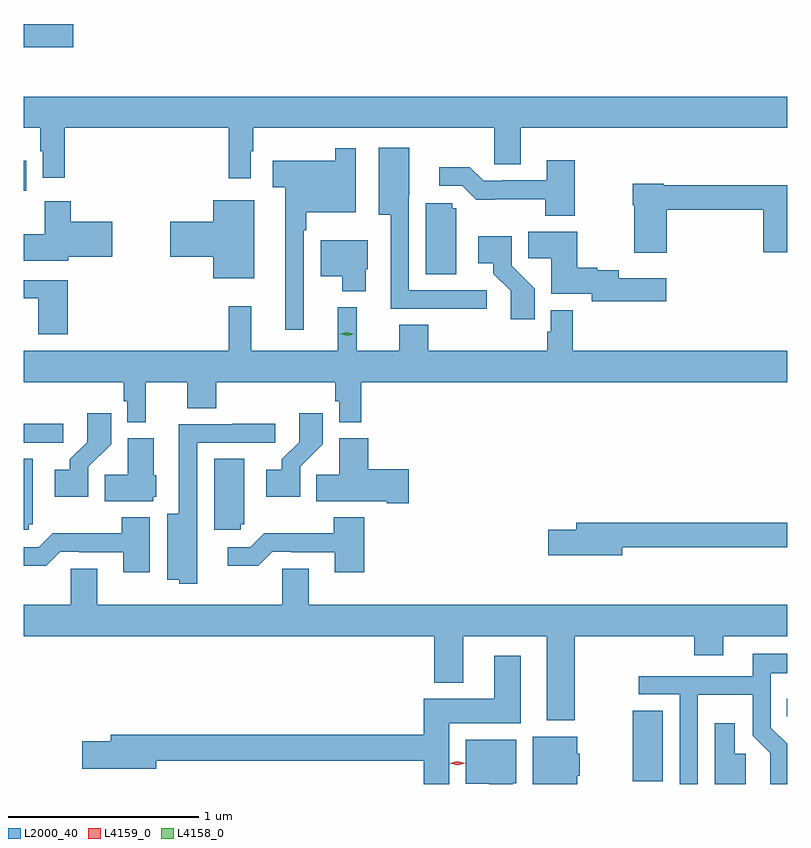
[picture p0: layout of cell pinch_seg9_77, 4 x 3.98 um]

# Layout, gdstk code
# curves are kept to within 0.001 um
import gdstk
lib = gdstk.Library(unit=1e-6, precision=1e-09)
def R(c, l, rs):  # rectangles x0, y0, x1, y1
    for r in rs: c.add(gdstk.rectangle(r[:2], r[2:], *l))
def P(c, l, *ps):  # polygons
    for p in ps: c.add(gdstk.Polygon(p, *l))
L2000_40 = (2000, 40)
L4158_0 = (4158, 0)
L4159_0 = (4159, 0)

pinch_seg9_77 = lib.new_cell('pinch_seg9_77')
R(pinch_seg9_77, L2000_40, [(1047.119,1190.331,1047.277,1190.702), (1047.928,1190.673,1047.929,1190.765), (1043.929,1192.107,1044.136,1192.206), (1043.929,1193.426,1043.942,1193.584), (1043.929,1194.179,1044.187,1194.301)])
P(pinch_seg9_77, L2000_40, [(1045.119,1193.633),(1045.132,1193.633),(1045.132,1193.756),(1046.394,1193.756),(1046.394,1193.566),(1046.533,1193.566),(1046.533,1193.756),(1047.929,1193.756),(1047.929,1193.92),(1043.929,1193.92),(1043.929,1193.756),(1044.015,1193.756),(1044.015,1193.634),(1044.027,1193.634),(1044.027,1193.496),(1044.143,1193.496),(1044.143,1193.756),(1045.003,1193.756),(1045.003,1193.493),(1045.119,1193.493)],
  [(1046.356,1192.905),(1045.947,1192.905),(1045.947,1193.404),(1045.948,1193.404),(1045.948,1193.653),(1045.79,1193.653),(1045.79,1193.3),(1045.851,1193.3),(1045.851,1192.809),(1046.131,1192.809),(1046.131,1192.807),(1046.356,1192.807)],
  [(1045.395,1193.219),(1045.408,1193.219),(1045.408,1193.315),(1045.668,1193.315),(1045.668,1193.65),(1045.56,1193.65),(1045.56,1193.584),(1045.232,1193.584),(1045.232,1193.444),(1045.298,1193.444),(1045.298,1192.698),(1045.395,1192.698)],
  [(1046.817,1193.587),(1046.669,1193.587),(1046.669,1193.481),(1046.44,1193.481),(1046.44,1193.478),(1046.34,1193.478),(1046.267,1193.551),(1046.106,1193.551),(1046.106,1193.454),(1046.226,1193.454),(1046.299,1193.381),(1046.662,1193.382),(1046.662,1193.297),(1046.817,1193.297)],
  [(1047.299,1193.326),(1047.805,1193.326),(1047.805,1193.104),(1047.929,1193.104),(1047.929,1193.455),(1047.282,1193.455),(1047.282,1193.463),(1047.121,1193.463),(1047.121,1193.351),(1047.128,1193.351),(1047.128,1193.103),(1047.299,1193.103)],
  [(1045.135,1193.377),(1044.92,1193.377),(1044.92,1193.264),(1044.696,1193.264),(1044.696,1193.081),(1044.92,1193.081),(1044.92,1192.967),(1045.135,1192.967)],
  [(1044.16,1193.081),(1044.391,1193.081),(1044.391,1193.264),(1044.173,1193.264),(1044.173,1193.371),(1044.038,1193.371),(1044.038,1193.2),(1043.929,1193.2),(1043.929,1193.06),(1044.16,1193.06)],
  [(1046.194,1193.334),(1046.175,1193.334),(1046.175,1193.361),(1046.036,1193.361),(1046.036,1192.99),(1046.194,1192.99)],
  [(1047.295,1192.969),(1047.046,1192.969),(1047.046,1193.011),(1046.934,1193.011),(1046.934,1193.024),(1046.83,1193.024),(1046.83,1193.212),(1046.572,1193.212),(1046.572,1193.074),(1046.693,1193.074),(1046.693,1192.886),(1046.906,1192.886),(1046.906,1192.847),(1047.295,1192.847)],
  [(1046.606,1192.914),(1046.487,1193.033),(1046.487,1193.188),(1046.31,1193.188),(1046.31,1193.048),(1046.39,1193.048),(1046.39,1192.993),(1046.481,1192.903),(1046.481,1192.752),(1046.606,1192.752)],
  [(1045.72,1193.016),(1045.732,1193.016),(1045.732,1193.167),(1045.484,1193.167),(1045.484,1192.979),(1045.598,1192.979),(1045.598,1192.901),(1045.72,1192.901)],
  [(1044.158,1192.959),(1043.929,1192.959),(1043.929,1192.863),(1044.005,1192.863),(1044.005,1192.674),(1044.158,1192.674)],
  [(1044.568,1192.424),(1044.785,1192.424),(1044.785,1192.288),(1044.938,1192.288),(1044.938,1192.424),(1045.561,1192.424),(1045.561,1192.323),(1045.581,1192.323),(1045.581,1192.214),(1045.697,1192.214),(1045.697,1192.424),(1047.929,1192.424),(1047.929,1192.588),(1046.807,1192.588),(1046.807,1192.801),(1046.691,1192.801),(1046.691,1192.689),(1046.671,1192.689),(1046.671,1192.588),(1046.048,1192.588),(1046.048,1192.724),(1045.895,1192.724),(1045.895,1192.588),(1045.673,1192.588),(1045.673,1192.816),(1045.574,1192.816),(1045.574,1192.588),(1045.121,1192.588),(1045.121,1192.822),(1045.003,1192.822),(1045.003,1192.588),(1043.929,1192.588),(1043.929,1192.424),(1044.451,1192.424),(1044.451,1192.323),(1044.471,1192.323),(1044.471,1192.214),(1044.568,1192.214)],
  [(1044.267,1191.979),(1044.386,1192.098),(1044.386,1192.261),(1044.261,1192.261),(1044.261,1192.109),(1044.17,1192.019),(1044.17,1191.964),(1044.09,1191.964),(1044.09,1191.824),(1044.267,1191.824)],
  [(1045.377,1191.979),(1045.496,1192.098),(1045.496,1192.261),(1045.371,1192.261),(1045.371,1192.109),(1045.28,1192.019),(1045.28,1191.964),(1045.2,1191.964),(1045.2,1191.824),(1045.377,1191.824)],
  [(1044.838,1191.629),(1044.837,1191.629),(1044.837,1192.107),(1045.246,1192.107),(1045.246,1192.206),(1045.021,1192.206),(1045.021,1192.203),(1044.741,1192.203),(1044.741,1191.733),(1044.68,1191.733),(1044.68,1191.389),(1044.744,1191.389),(1044.744,1191.368),(1044.838,1191.368)],
  [(1044.606,1191.822),(1044.622,1191.822),(1044.622,1191.936),(1044.61,1191.936),(1044.61,1192.129),(1044.473,1192.129),(1044.473,1191.938),(1044.352,1191.938),(1044.352,1191.8),(1044.606,1191.8)],
  [(1045.945,1191.966),(1045.733,1191.966),(1045.733,1192.129),(1045.583,1192.129),(1045.583,1191.938),(1045.462,1191.938),(1045.462,1191.8),(1045.832,1191.8),(1045.832,1191.788),(1045.945,1191.788)],
  [(1045.065,1191.678),(1045.084,1191.678),(1045.084,1192.022),(1044.926,1192.022),(1044.926,1191.651),(1045.065,1191.651)],
  [(1043.955,1191.678),(1043.974,1191.678),(1043.974,1192.022),(1043.929,1192.022),(1043.929,1191.651),(1043.955,1191.651)],
  [(1044.589,1191.715),(1044.442,1191.715),(1044.442,1191.631),(1044.079,1191.631),(1044.006,1191.558),(1043.929,1191.558),(1043.929,1191.461),(1044.047,1191.461),(1044.12,1191.534),(1044.22,1191.534),(1044.22,1191.531),(1044.449,1191.531),(1044.449,1191.426),(1044.589,1191.426)],
  [(1045.712,1191.715),(1045.552,1191.715),(1045.552,1191.631),(1045.189,1191.631),(1045.116,1191.558),(1044.996,1191.558),(1044.996,1191.461),(1045.157,1191.461),(1045.23,1191.534),(1045.33,1191.534),(1045.33,1191.531),(1045.559,1191.531),(1045.559,1191.426),(1045.712,1191.426)],
  [(1047.064,1191.558),(1047.929,1191.558),(1047.929,1191.686),(1046.825,1191.686),(1046.825,1191.65),(1046.676,1191.65),(1046.676,1191.515),(1047.064,1191.515)],
  [(1045.423,1191.446),(1045.284,1191.446),(1045.284,1191.256),(1044.313,1191.256),(1044.313,1191.446),(1044.174,1191.446),(1044.174,1191.256),(1043.929,1191.256),(1043.929,1191.092),(1046.081,1191.092),(1046.081,1190.849),(1046.233,1190.849),(1046.233,1191.092),(1046.669,1191.092),(1046.669,1190.651),(1046.817,1190.651),(1046.817,1191.092),(1047.443,1191.092),(1047.443,1190.993),(1047.595,1190.993),(1047.595,1191.092),(1047.929,1191.092),(1047.929,1191.256),(1045.423,1191.256)],
  [(1047.462,1190.786),(1047.75,1190.786),(1047.75,1190.57),(1047.842,1190.478),(1047.842,1190.372),(1047.84,1190.372),(1047.84,1190.317),(1047.929,1190.317),(1047.929,1190.527),(1047.843,1190.613),(1047.843,1190.897),(1047.929,1190.897),(1047.929,1191.001),(1047.749,1191.001),(1047.749,1190.883),(1047.153,1190.883),(1047.153,1190.787),(1047.366,1190.787),(1047.366,1190.317),(1047.462,1190.317)],
  [(1046.158,1190.636),(1046.533,1190.636),(1046.533,1190.989),(1046.393,1190.989),(1046.393,1190.764),(1046.024,1190.764),(1046.024,1190.576),(1044.383,1190.576),(1044.383,1190.54),(1044.234,1190.54),(1044.234,1190.398),(1044.622,1190.398),(1044.622,1190.44),(1046.024,1190.44),(1046.024,1190.317),(1046.158,1190.317)],
  [(1047.712,1190.475),(1047.655,1190.475),(1047.655,1190.635),(1047.551,1190.635),(1047.551,1190.317),(1047.712,1190.317)],
  [(1046.83,1190.361),(1046.842,1190.361),(1046.842,1190.475),(1046.83,1190.475),(1046.83,1190.566),(1046.597,1190.566),(1046.597,1190.317),(1046.83,1190.317)],
  [(1046.491,1190.322),(1046.509,1190.322),(1046.509,1190.548),(1046.246,1190.548),(1046.246,1190.318),(1046.369,1190.318),(1046.369,1190.317),(1046.491,1190.317)])
P(pinch_seg9_77, L4158_0, [(1045.623,1192.666),(1045.588,1192.676),(1045.587,1192.676),(1045.588,1192.676),(1045.624,1192.686),(1045.659,1192.675),(1045.659,1192.675),(1045.659,1192.675)])
P(pinch_seg9_77, L4159_0, [(1046.201,1190.416),(1046.162,1190.425),(1046.161,1190.425),(1046.162,1190.426),(1046.201,1190.436),(1046.241,1190.426),(1046.241,1190.426),(1046.241,1190.426)])

lib.write_gds('pinch_seg9_77.gds')
